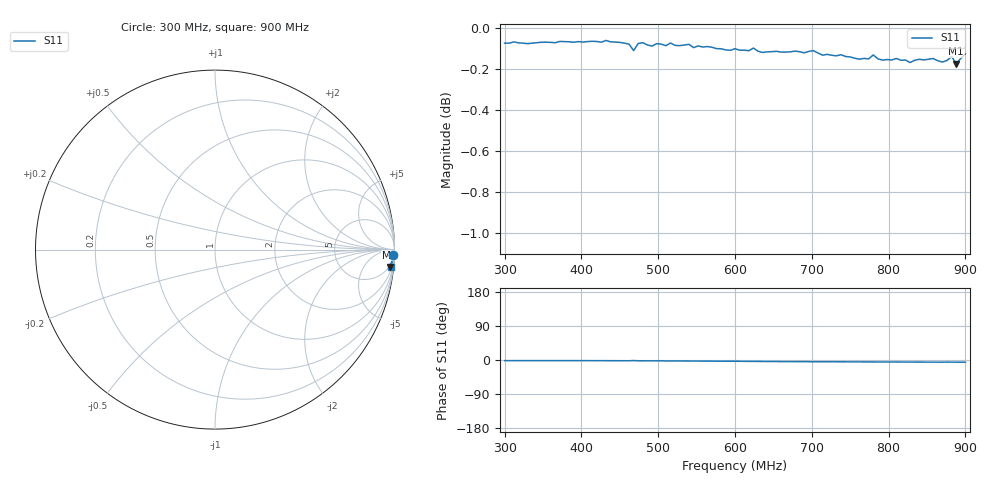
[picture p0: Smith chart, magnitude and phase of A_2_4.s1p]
# HZ S RI R 50
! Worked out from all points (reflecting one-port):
!   101 points, 300 MHz to 900 MHz, reference 50 ohm
!   lowest |S11| = -0.2 dB at 888 MHz (marker M1), VSWR 99.24, Z = 197 - j967 ohm
!   phase of S11 starts at -2 deg and turns -4 deg over the sweep
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3e8  0.9909 -0.0288
3.78e8  0.9917 -0.0288
4.5e8  0.9912 -0.0331
4.62e8  0.9902 -0.0343
4.68e8  0.9869 -0.0256
4.74e8  0.9905 -0.0359
5.28e8  0.9889 -0.0442
6e8  0.9865 -0.0579
6.48e8  0.9841 -0.0698
6.54e8  0.9844 -0.069
6.6e8  0.9837 -0.0725
6.78e8  0.9841 -0.0744
7.02e8  0.984 -0.0793
7.26e8  0.9813 -0.0805
7.5e8  0.98 -0.0848
7.74e8  0.9788 -0.0869
7.8e8  0.9809 -0.0874
7.92e8  0.978 -0.0885
8.1e8  0.9787 -0.0904
8.28e8  0.9763 -0.0915
8.34e8  0.9773 -0.0943
8.52e8  0.9776 -0.0967
8.7e8  0.976 -0.0977
8.76e8  0.9772 -0.0943
8.82e8  0.9791 -0.0977
8.88e8  0.9752 -0.0971
8.94e8  0.9777 -0.1004
9e8  0.9805 -0.0982
